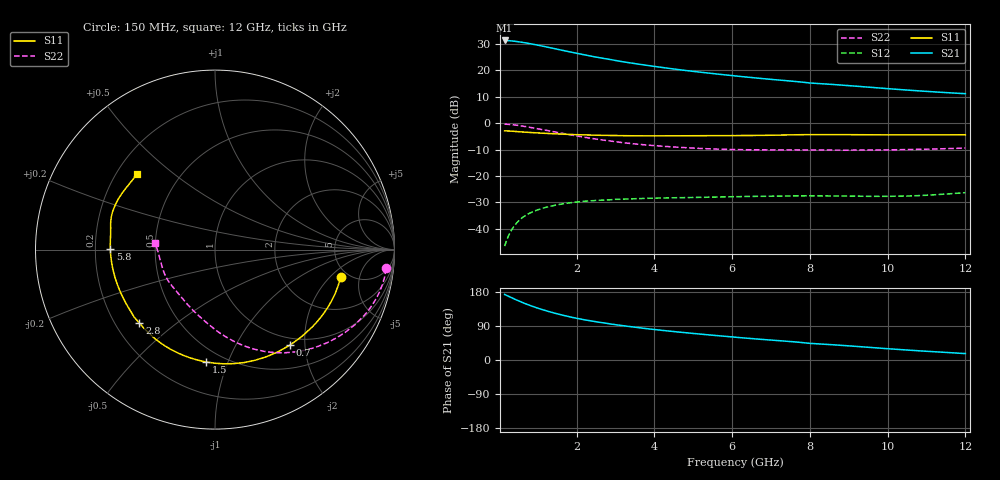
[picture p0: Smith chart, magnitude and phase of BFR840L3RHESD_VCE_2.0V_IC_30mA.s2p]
! (c) 2012  Infineon Technologies AG, Munich
! Infineon Technologies  Discrete & RF Semiconductors
! BFR840L3RHESD
! VCE =  2.0 V,  IC =  30 mA
! Common Emitter S-Parameters:  Jun 2012
# GHz  S  MA  R  50
!  f  S11  S21  S12  S22
! GHz  MAG  ANG  MAG  ANG  MAG  ANG  MAG  ANG
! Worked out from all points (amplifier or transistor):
!   91 points, 150 MHz to 12 GHz, reference 50 ohm
!   highest |S21| = 31.4 dB at 150 MHz (marker M1)
!   |S21| within 3 dB of that: start of sweep to 1.401 GHz
!   unconditionally stable (mu >= 1): 6.458 GHz to end of sweep
!   at 1.3 GHz: K = 0.24, MSG = 30.1 dB, |S12| = -31.5 dB
!   at 4.3 GHz: K = 0.69, MSG = 24.6 dB, |S12| = -28.3 dB
!   at 12 GHz: K = 1.75, MAG = 13.7 dB, |S12| = -26.3 dB
!   S11 on the Smith chart (normalised r, x): 150 MHz: 4.32, -2.68; 700 MHz: 0.87, -1.71; 1.5 GHz: 0.40, -0.84; 2.8 GHz: 0.30, -0.37; 5.8 GHz: 0.26, +0.00; 12 GHz: 0.28, +0.38
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0.15  0.7163 -12.2  36.97 173.0  0.0047 69.1  0.9595 -6.3
0.3  0.7098 -23.7  36.42 165.8  0.0087 66.6  0.9466 -14.4
0.45  0.6971 -34.8  35.38 158.7  0.0127 67.7  0.9196 -21.6
0.6  0.684 -45.3  34.08 152.1  0.0162 66.5  0.8855 -28.1
0.7  0.6761 -52.0  33.14 148.0  0.0182 64.5  0.8611 -32.2
0.9  0.6622 -64.4  31.16 140.4  0.0215 59.0  0.8115 -39.8
1.1  0.6498 -75.5  29.13 133.6  0.0242 53.3  0.763 -46.7
1.3  0.6383 -85.6  27.14 127.5  0.0265 48.6  0.7165 -52.9
1.5  0.6279 -94.7  25.25 121.9  0.0285 45.4  0.6724 -58.7
1.9  0.6113 -110.4  21.91 112.2  0.0316 41.3  0.5936 -68.8
2.2  0.602 -120.3  19.76 106.2  0.0333 38.2  0.5436 -75.4
2.5  0.5938 -128.6  17.92 101.0  0.0345 34.9  0.5019 -81.1
2.8  0.5877 -135.8  16.4 96.3  0.0353 33.3  0.468 -86.3
3.4  0.5795 -148.4  13.83 87.8  0.037 29.8  0.4129 -95.9
4.2  0.5777 -161.1  11.39 78.2  0.0384 28.7  0.3678 -107.2
5  0.58 -171.7  9.607 70.1  0.0393 28.0  0.3385 -118.0
5.8  0.5831 179.5  8.272 62.7  0.0403 27.6  0.321 -128.0
6.1  0.5843 176.5  7.848 60.0  0.0407 27.5  0.3173 -131.6
8  0.6087 159.0  5.785 43.9  0.0423 27.4  0.3112 -156.0
8.5  0.609 155.5  5.481 40.8  0.042 27.7  0.3101 -160.3
10.5  0.6015 142.4  4.249 26.3  0.0418 35.1  0.3174 -177.5
12  0.6056 135.8  3.627 16.9  0.0485 40.9  0.3389 173.4
